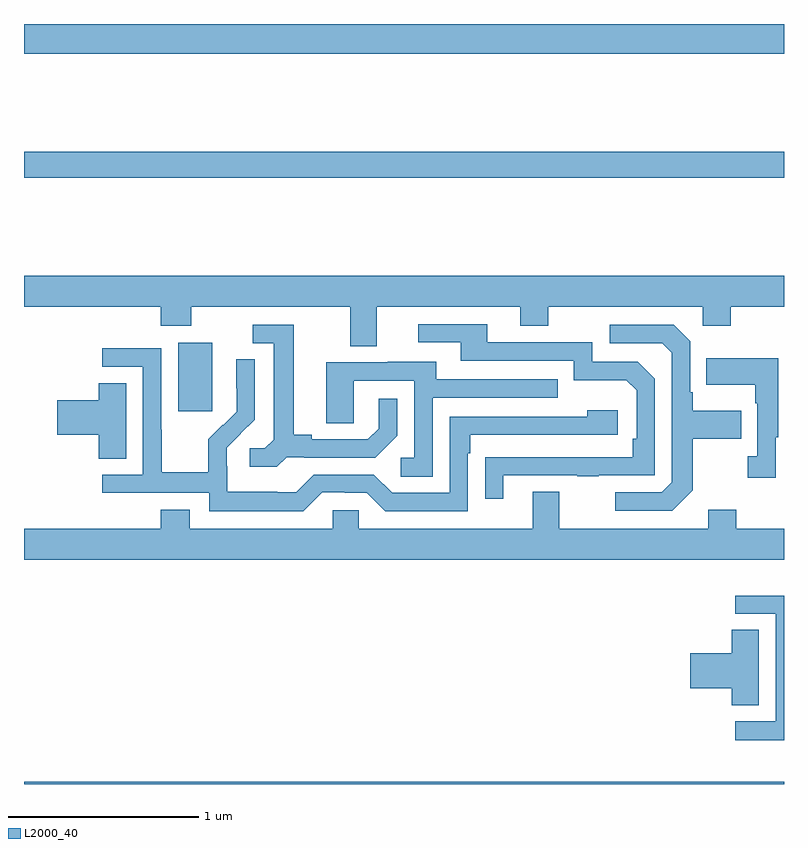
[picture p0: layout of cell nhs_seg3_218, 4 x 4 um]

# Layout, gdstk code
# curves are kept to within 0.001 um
import gdstk
lib = gdstk.Library(unit=1e-6, precision=1e-09)
def R(c, l, rs):  # rectangles x0, y0, x1, y1
    for r in rs: c.add(gdstk.rectangle(r[:2], r[2:], *l))
def P(c, l, *ps):  # polygons
    for p in ps: c.add(gdstk.Polygon(p, *l))
L2000_40 = (2000, 40)

nhs_seg3_218 = lib.new_cell('nhs_seg3_218')
R(nhs_seg3_218, L2000_40, [(121,702.4,125,702.412), (121.811,704.361,121.99,704.722), (121,705.592,125,705.728), (121,706.244,125,706.4)])
P(nhs_seg3_218, L2000_40, [(122.857,704.912),(123.611,704.912),(123.611,704.813),(123.759,704.813),(123.759,704.912),(124.572,704.912),(124.572,704.813),(124.719,704.813),(124.719,704.912),(125,704.912),(125,705.076),(121,705.076),(121,704.912),(121.721,704.912),(121.721,704.813),(121.881,704.813),(121.881,704.912),(122.717,704.912),(122.717,704.704),(122.857,704.704)],
  [(123.523,704.025),(123.913,704.025),(123.913,704.02),(124.025,704.02),(124.025,704.025),(124.32,704.025),(124.32,704.532),(124.23,704.622),(123.99,704.622),(123.99,704.724),(123.439,704.724),(123.439,704.82),(123.075,704.82),(123.075,704.724),(123.299,704.724),(123.299,704.628),(123.894,704.628),(123.894,704.525),(124.171,704.525),(124.224,704.472),(124.224,704.218),(124.204,704.218),(124.204,704.121),(123.427,704.12),(123.427,703.902),(123.523,703.902)],
  [(124.519,703.945),(124.519,704.218),(124.775,704.218),(124.775,704.365),(124.519,704.365),(124.519,704.461),(124.506,704.461),(124.506,704.73),(124.419,704.817),(124.083,704.817),(124.083,704.721),(124.359,704.721),(124.41,704.67),(124.41,703.989),(124.356,703.935),(124.113,703.935),(124.113,703.839),(124.413,703.839)],
  [(122.382,704.121),(122.476,704.121),(122.476,704.118),(122.848,704.118),(122.964,704.234),(122.964,704.428),(122.867,704.428),(122.867,704.271),(122.81,704.214),(122.515,704.214),(122.515,704.237),(122.419,704.237),(122.419,704.817),(122.205,704.817),(122.205,704.721),(122.315,704.721),(122.315,704.213),(122.268,704.166),(122.187,704.166),(122.187,704.069),(122.33,704.069)],
  [(122.571,703.935),(122.687,703.935),(122.687,703.932),(122.805,703.932),(122.901,703.836),(123.336,703.836),(123.336,704.141),(123.349,704.141),(123.349,704.238),(124.126,704.238),(124.126,704.368),(123.965,704.368),(123.965,704.334),(123.24,704.334),(123.24,703.932),(122.937,703.932),(122.841,704.028),(122.526,704.028),(122.433,703.935),(122.333,703.935),(122.333,703.939),(122.07,703.939),(122.07,704.073),(122.068,704.073),(122.068,704.17),(122.214,704.318),(122.214,704.636),(122.118,704.636),(122.118,704.482),(122.12,704.482),(122.12,704.36),(122.049,704.289),(122.046,704.292),(121.969,704.215),(121.969,704.041),(121.725,704.041),(121.725,704.264),(121.722,704.264),(121.722,704.694),(121.413,704.694),(121.413,704.595),(121.626,704.595),(121.626,704.028),(121.413,704.028),(121.413,703.932),(121.974,703.932),(121.974,703.835),(122.471,703.835)],
  [(124.957,704.225),(124.969,704.225),(124.969,704.641),(124.591,704.641),(124.591,704.501),(124.848,704.501),(124.848,704.405),(124.86,704.405),(124.86,704.126),(124.809,704.126),(124.809,704.013),(124.957,704.013)],
  [(123.15,704.433),(123.809,704.433),(123.809,704.529),(123.169,704.529),(123.169,704.623),(122.915,704.623),(122.915,704.619),(122.591,704.619),(122.591,704.299),(122.736,704.299),(122.736,704.523),(123.054,704.523),(123.054,704.118),(122.982,704.118),(122.982,704.017),(123.15,704.017)],
  [(121.537,704.51),(121.394,704.51),(121.394,704.42),(121.176,704.42),(121.176,704.237),(121.394,704.237),(121.394,704.113),(121.537,704.113)],
  [(125,703.744),(124.749,703.744),(124.749,703.843),(124.601,703.843),(124.601,703.744),(123.817,703.744),(123.817,703.939),(123.677,703.939),(123.677,703.744),(122.763,703.744),(122.763,703.842),(122.625,703.842),(122.625,703.744),(121.873,703.744),(121.873,703.843),(121.721,703.843),(121.721,703.744),(121,703.744),(121,703.58),(125,703.58)],
  [(125,703.392),(124.743,703.392),(124.743,703.296),(124.956,703.296),(124.956,702.729),(124.743,702.729),(124.743,702.631),(125,702.631)],
  [(124.867,703.211),(124.724,703.211),(124.724,703.088),(124.506,703.088),(124.506,702.905),(124.724,702.905),(124.724,702.814),(124.867,702.814)])

lib.write_gds('nhs_seg3_218.gds')
